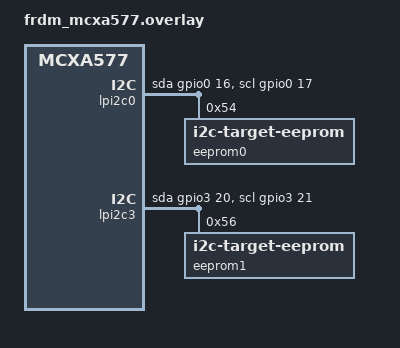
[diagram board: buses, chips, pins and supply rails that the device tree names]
/*
 * Copyright 2024 NXP
 *
 * SPDX-License-Identifier: Apache-2.0
 */

/* To test this sample, connect
 * LPI2C0 SCL(J9-9)  -->  LPI2C3 SCL(J5-5)
 * LPI2C0 SDA(J9-10)  -->  LPI2C3 SDA(J5-6)
 */

&lpi2c0 {
	scl-gpios = <&gpio0 17 (GPIO_ACTIVE_HIGH | GPIO_PULL_UP)>;
	sda-gpios = <&gpio0 16 (GPIO_ACTIVE_HIGH | GPIO_PULL_UP)>;
	recover-bus-on-init;

	eeprom0: eeprom@54 {
		compatible = "zephyr,i2c-target-eeprom";
		reg = <0x54>;
		size = <256>;
	};
};

&lpi2c3 {
	scl-gpios = <&gpio3 21 (GPIO_ACTIVE_HIGH | GPIO_PULL_UP)>;
	sda-gpios = <&gpio3 20 (GPIO_ACTIVE_HIGH | GPIO_PULL_UP)>;
	recover-bus-on-init;

	eeprom1: eeprom@56 {
		compatible = "zephyr,i2c-target-eeprom";
		reg = <0x56>;
		size = <256>;
	};
};
